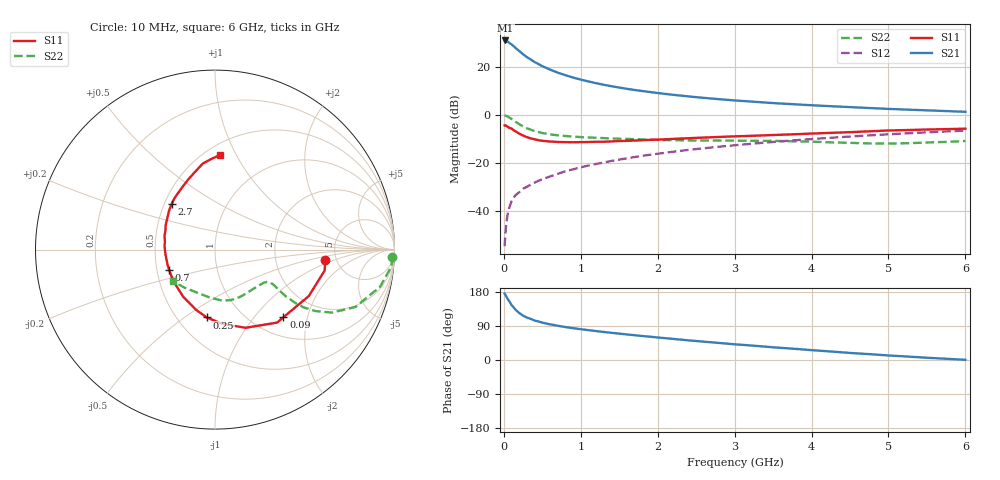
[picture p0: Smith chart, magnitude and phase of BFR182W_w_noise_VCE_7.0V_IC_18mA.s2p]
! Infineon Technologies  Discrete & RF Semiconductors
! BFR182W
! VCE =  7.0 V,  IC =  18 mA
! Common Emitter S-Parameters:  Jan 2017
# GHz  S  MA  R  50
!  f  S11  S21  S12  S22
! GHz  MAG  ANG  MAG  ANG  MAG  ANG  MAG  ANG
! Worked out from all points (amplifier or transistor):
!   77 points, 10 MHz to 6 GHz, reference 50 ohm
!   highest |S21| = 31.2 dB at 20 MHz (marker M1)
!   |S21| within 3 dB of that: start of sweep to 149.4 MHz
!   unconditionally stable (mu >= 1): 882 MHz to 2.382 GHz
!   at 130 MHz: K = 0.40, MSG = 31.4 dB, |S12| = -34.2 dB
!   at 2.2 GHz: K = 1.01, MAG = 11.2 dB, |S12| = -15.1 dB
!   at 6 GHz: K = 0.86, MSG = 3.9 dB, |S12| = -6.3 dB
!   lowest NFmin = 1.34 dB at 450 MHz
!   S11 on the Smith chart (normalised r, x): 10 MHz: 4.07, -0.75; 90 MHz: 1.36, -1.44; 250 MHz: 0.69, -0.61; 700 MHz: 0.58, -0.14; 2.7 GHz: 0.55, +0.32; 6 GHz: 0.59, +0.86
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0.01  0.6166 -5.3  36.09 175.3  0.0019 81.6  0.988 -2.4
0.02  0.6221 -10.8  36.12 171.9  0.0034 90.6  0.9882 -5.3
0.05  0.5833 -26.3  34.17 160.9  0.0089 78.1  0.9434 -12.6
0.09  0.5363 -44.7  30.59 148.6  0.0147 72.7  0.8631 -20.1
0.1  0.5339 -49.6  29.95 145.1  0.0162 72.0  0.8456 -22.2
0.15  0.4679 -68.6  25.52 133.0  0.0217 66.9  0.7405 -28.3
0.2  0.4163 -84.2  21.7 124.0  0.0251 65.5  0.655 -31.5
0.25  0.3808 -96.9  18.69 117.0  0.0297 63.9  0.589 -33.1
0.3  0.3523 -107.3  16.24 111.9  0.0327 64.2  0.5376 -33.6
0.4  0.3169 -124.0  12.85 104.1  0.04 66.2  0.4706 -33.4
0.5  0.2954 -136.9  10.55 98.6  0.0469 66.4  0.4296 -32.5
0.6  0.2854 -147.3  8.951 94.1  0.0535 67.2  0.4025 -31.7
0.7  0.2797 -155.8  7.748 90.4  0.0606 68.9  0.3845 -31.1
0.9  0.2758 -169.5  6.107 84.0  0.0753 69.4  0.3611 -30.9
1.1  0.2792 179.9  5.065 78.8  0.0904 70.2  0.3469 -31.5
1.5  0.2921 164.2  3.782 69.6  0.1201 69.2  0.3262 -34.9
2.1  0.3177 146.9  2.791 57.6  0.1669 66.6  0.3071 -44.5
2.7  0.3499 133.7  2.237 46.7  0.2147 62.7  0.2987 -57.0
3.1  0.3698 125.9  1.992 40.0  0.2466 59.7  0.2963 -65.2
4.1  0.4233 109.6  1.593 24.6  0.3293 51.4  0.28 -86.0
5.1  0.4885 96.7  1.343 10.8  0.4111 42.0  0.2605 -116.4
6  0.5279 86.9  1.185 0.4  0.4816 33.0  0.2925 -143.7
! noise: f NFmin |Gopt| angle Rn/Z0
0.45  1.34  0.07  174  0.15
0.9  1.41  0.08  179  0.15
1.9  1.93  0.27  -144  0.15
2.4  2.18  0.27  -129  0.24
